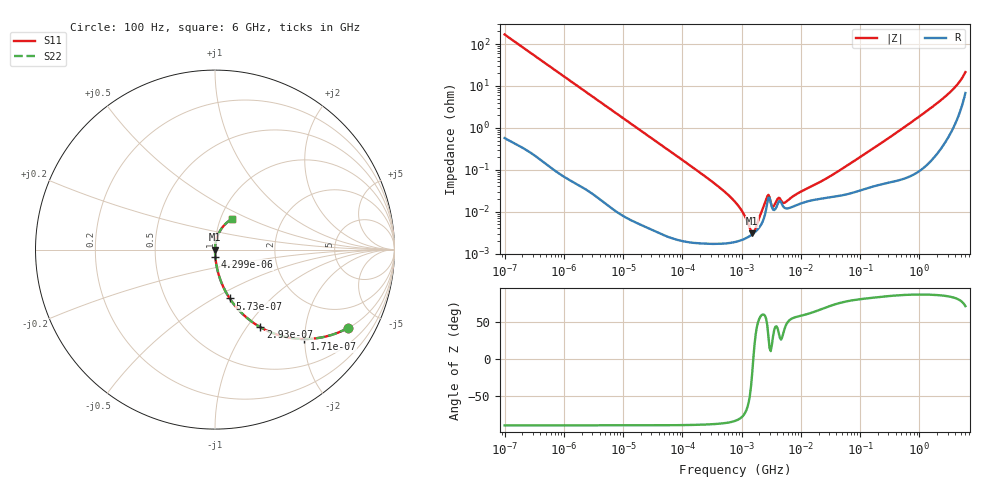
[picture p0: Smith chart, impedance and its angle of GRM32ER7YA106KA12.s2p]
!Murata Part Number: GRM32ER7YA106KA12
!These Parameters are Measured in Series Mode Connection
!Data Generated on Mar 30, 2021
!  o--ll--o
!Port1  Port2
!  o------o
!Operation Temp=25[degC], DC Bias Voltage=0[V]
!Freq. Start=100[Hz] Stop=6[GHz] 401[Steps]
# Hz S RI R 50
!Freq.(Hz) S11(Real) S11(Imag) S21(Real) S21(Imag) S12(Real) S12(Imag) S22(Real) S22(Imag)
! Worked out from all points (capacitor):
!   401 points, 100 Hz to 6 GHz, reference 50 ohm
!   read as one part in series: C = 9.38 uF near 109 Hz
!   lowest |Z| = 3.03 mohm at 1.516 MHz (marker M1)
!   series resonance near 1.578 MHz, so ESL is about 1.1 nH
!   S11 on the Smith chart (normalised r, x): 100 Hz: 1.01, -3.39; 171 Hz: 1.01, -1.98; 293 Hz: 1.00, -1.16; 573 Hz: 1.00, -0.59; 4.299 kHz: 1.00, -0.08; 6 GHz: 1.14, +0.41
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100  0.741 -0.4364  0.259 0.4364  0.259 0.4364  0.741 -0.4364
171  0.4956 -0.4981  0.5044 0.4981  0.5044 0.4981  0.4956 -0.4981
293  0.2527 -0.4325  0.7473 0.4325  0.7473 0.4325  0.2527 -0.4325
573  0.0819 -0.2723  0.9181 0.2723  0.9181 0.2723  0.0819 -0.2723
2008  0.00756 -0.0843  0.9924 0.0843  0.9924 0.0843  0.00756 -0.0843
4299  0.00177 -0.0397  0.9982 0.0397  0.9982 0.0397  0.00177 -0.0397
40335  4.92e-05 -0.00427  1 0.00427  1 0.00427  4.92e-05 -0.00427
330837  1.73e-05 -0.0005  1 0.0005  1 0.0005  1.73e-05 -0.0005
774597  1.89e-05 -0.000172  1 0.000172  1 0.000172  1.89e-05 -0.000172
1059725  2.17e-05 -9.19e-05  1 9.19e-05  1 9.19e-05  2.17e-05 -9.19e-05
1516199  2.88e-05 -9.3e-06  1 9.3e-06  1 9.3e-06  2.88e-05 -9.3e-06
2074311  4.58e-05 7.13e-05  1 -7.13e-05  1 -7.13e-05  4.58e-05 7.13e-05
2713602  0.000161 0.000166  0.9998 -0.000166  0.9998 -0.000166  0.000161 0.000166
3394479  0.000113 6.63e-05  0.9999 -6.63e-05  0.9999 -6.63e-05  0.000113 6.63e-05
4246196  0.000176 0.000124  0.9998 -0.000124  0.9998 -0.000124  0.000176 0.000124
5311619  0.000124 0.000107  0.9999 -0.000107  0.9999 -0.000107  0.000124 0.000107
1.555665e7  0.000188 0.000366  0.9998 -0.000366  0.9998 -0.000366  0.000188 0.000366
4.165952e7  0.000235 0.00087  0.9998 -0.00087  0.9998 -0.00087  0.000235 0.00087
3.124326e8  0.000531 0.00585  0.9995 -0.00585  0.9995 -0.00585  0.000531 0.00585
2.450438e9  0.0059 0.0483  0.9941 -0.0483  0.9941 -0.0483  0.0059 0.0483
4.009986e9  0.0203 0.0898  0.9797 -0.0898  0.9797 -0.0898  0.0203 0.0898
6e9  0.0964 0.1718  0.9036 -0.1718  0.9036 -0.1718  0.0964 0.1718
